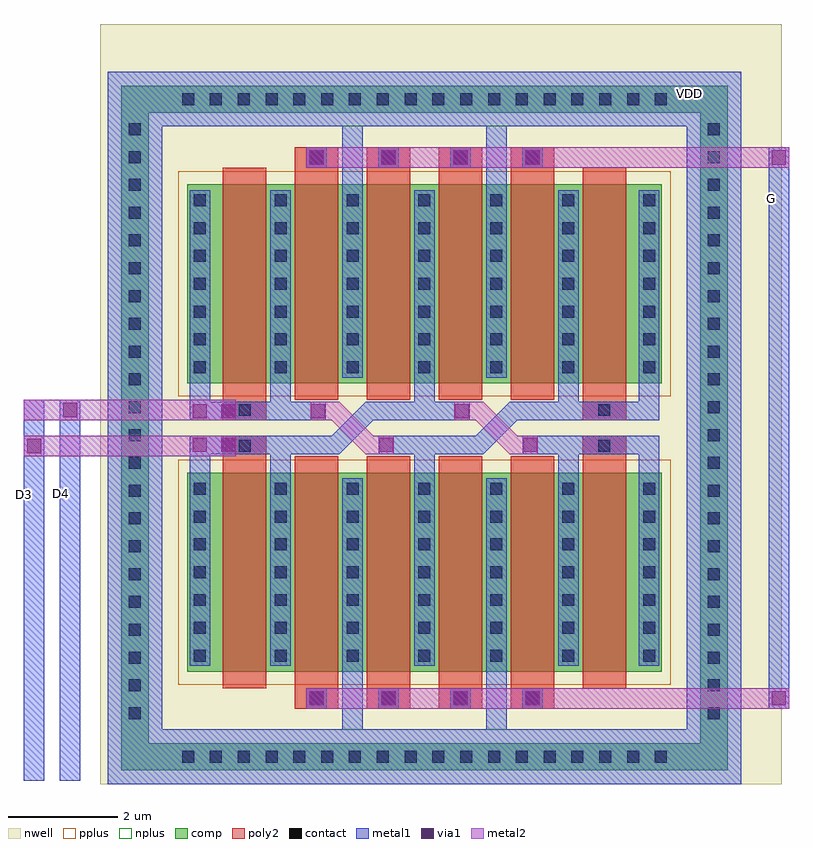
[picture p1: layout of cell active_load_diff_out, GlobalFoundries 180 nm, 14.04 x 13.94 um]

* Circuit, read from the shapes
.subckt active_load_diff_out D3 D4 G VDD
XM1 D3 D3 D3 VDD pfet_03v3 w=3.65u l=0.8u m=2
XM2 D4 D4 D4 VDD pfet_03v3 w=3.65u l=0.8u m=2
XM3 VDD G D3 VDD pfet_03v3 w=3.65u l=0.8u m=4
XM4 VDD G D4 VDD pfet_03v3 w=3.65u l=0.8u m=4
.ends

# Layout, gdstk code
from math import pi, radians
import gdstk
lib = gdstk.Library(unit=1e-6, precision=1e-09)
def R(c, l, rs):  # rectangles x0, y0, x1, y1
    for r in rs: c.add(gdstk.rectangle(r[:2], r[2:], *l))
def A(c, l, x, y, w, h, nx, ny, dx, dy):  # array of equal rectangles
    R(c, l, [(x+i*dx, y+j*dy, x+i*dx+w, y+j*dy+h) for i in range(nx) for j in range(ny)])
nwell = (21, 0)
comp = (22, 0)
poly2 = (30, 0)
pplus = (31, 0)
nplus = (32, 0)
contact = (33, 0)
metal1 = (34, 0)
via1 = (35, 0)
metal2 = (36, 0)

pmos_6 = lib.new_cell('pmos_6')
R(pmos_6, comp, [(0.455,0.68,0.915,4.33), (0.915,0.68,8.695,4.33), (8.695,0.68,9.155,4.33)])
A(pmos_6, poly2, 1.105, 0.38, 0.8, 4.25, 6, 1, 1.32, 0)
A(pmos_6, poly2, 2.425, 4.63, 0.8, 0.38, 4, 1, 1.32, 0)
R(pmos_6, poly2, [(1.105,0,1.905,0.38), (7.705,0,8.505,0.38)])
R(pmos_6, pplus, [(0.285,0.44,9.325,4.57)])
A(pmos_6, contact, 0.575, 0.865, 0.22, 0.22, 1, 7, 0, 0.51)
A(pmos_6, contact, 2.055, 0.865, 0.22, 0.22, 5, 7, 1.32, 0.51)
A(pmos_6, contact, 8.815, 0.865, 0.22, 0.22, 1, 7, 0, 0.51)
A(pmos_6, contact, 2.715, 4.71, 0.22, 0.22, 4, 1, 1.32, 0)
R(pmos_6, contact, [(1.395,0.08,1.615,0.3), (7.995,0.08,8.215,0.3)])
A(pmos_6, metal1, 1.975, 0.785, 0.38, 3.44, 5, 1, 1.32, 0)
A(pmos_6, metal1, 2.635, 4.63, 0.38, 0.38, 4, 1, 1.32, 0)
R(pmos_6, metal1, [(1.315,0,1.695,0.34), (7.915,0,8.295,0.34), (0.495,0.785,0.875,4.225), (8.735,0.785,9.115,4.225)])
A(pmos_6, via1, 2.695, 4.69, 0.26, 0.26, 4, 1, 1.32, 0)
pmos_6.add(gdstk.FlexPath([(7.445,0.785),(7.445,0.34)], 0.38, ends="flush", simple_path=True, layer=34, datatype=0))  # metal1
pmos_6.add(gdstk.FlexPath([(8.925,0.785),(8.925,0.34)], 0.38, ends="flush", simple_path=True, layer=34, datatype=0))  # metal1
pmos_6.add(gdstk.FlexPath([(4.805,0.785),(4.805,0.34)], 0.38, ends="flush", simple_path=True, layer=34, datatype=0))  # metal1
pmos_6.add(gdstk.FlexPath([(2.165,0.785),(2.165,0.34)], 0.38, ends="flush", simple_path=True, layer=34, datatype=0))  # metal1
pmos_6.add(gdstk.FlexPath([(0.685,0.785),(0.685,0.34)], 0.38, ends="flush", simple_path=True, layer=34, datatype=0))  # metal1
pmos_6.add(gdstk.FlexPath([(6.975,4.82),(0,4.82)], 0.38, ends="flush", simple_path=True, layer=36, datatype=0))  # metal2

active_load_diff_out = lib.new_cell('active_load_diff_out')
R(active_load_diff_out, nwell, [(1.405,0,13.905,13.94)])
A(active_load_diff_out, contact, 2.905, 0.39, 0.22, 0.22, 18, 2, 0.51, 12.06)
A(active_load_diff_out, contact, 1.93, 1.19, 0.22, 0.22, 1, 22, 0, 0.51)
A(active_load_diff_out, contact, 12.55, 1.19, 0.22, 0.22, 1, 22, 0, 0.51)
R(active_load_diff_out, via1, [(13.72,1.44,13.98,1.7), (0.06,6.07,0.32,6.33), (3.1,6.09,3.36,6.35), (3.62,6.09,3.88,6.35), (6.52,6.09,6.78,6.35), (9.16,6.09,9.42,6.35), (3.1,6.71,3.36,6.97), (3.62,6.71,3.88,6.97), (5.27,6.71,5.53,6.97), (7.91,6.71,8.17,6.97), (0.72,6.73,0.98,6.99), (13.72,11.36,13.98,11.62)])
active_load_diff_out.add(gdstk.FlexPath([(12.16,12.56),(2.04,12.56),(2.04,0.5),(12.66,0.5),(12.66,13.06)], 1, ends="flush", simple_path=True, layer=34, datatype=0))  # metal1
active_load_diff_out.add(gdstk.FlexPath([(13.85,11.68),(13.85,1.38)], 0.38, ends="flush", simple_path=True, layer=34, datatype=0))  # metal1
active_load_diff_out.add(gdstk.FlexPath([(5.54,6.84),(3.04,6.84)], 0.34, ends="flush", simple_path=True, layer=34, datatype=0))  # metal1
active_load_diff_out.add(gdstk.FlexPath([(11.66,6.22),(9.15,6.22)], 0.34, ends="flush", simple_path=True, layer=34, datatype=0))  # metal1
active_load_diff_out.add(gdstk.FlexPath([(11.66,6.84),(8.98,6.84),(8.36,6.22),(6.51,6.22)], 0.34, ends="flush", simple_path=True, layer=34, datatype=0))  # metal1
active_load_diff_out.add(gdstk.FlexPath([(8.18,6.84),(6.34,6.84),(5.72,6.22),(3.04,6.22)], 0.34, ends="flush", simple_path=True, layer=34, datatype=0))  # metal1
active_load_diff_out.add(gdstk.FlexPath([(0.19,7.05),(0.19,0.06)], 0.38, ends="flush", simple_path=True, layer=34, datatype=0))  # metal1
active_load_diff_out.add(gdstk.FlexPath([(0.85,7.05),(0.85,0.06)], 0.38, ends="flush", simple_path=True, layer=34, datatype=0))  # metal1
active_load_diff_out.add(gdstk.FlexPath([(8.67,2.165),(8.67,1)], 0.38, ends="flush", simple_path=True, layer=34, datatype=0))  # metal1
active_load_diff_out.add(gdstk.FlexPath([(6.03,2.165),(6.03,1)], 0.38, ends="flush", simple_path=True, layer=34, datatype=0))  # metal1
active_load_diff_out.add(gdstk.FlexPath([(8.67,12.06),(8.67,10.895)], 0.38, ends="flush", simple_path=True, layer=34, datatype=0))  # metal1
active_load_diff_out.add(gdstk.FlexPath([(6.03,12.06),(6.03,10.895)], 0.38, ends="flush", simple_path=True, layer=34, datatype=0))  # metal1
active_load_diff_out.add(gdstk.FlexPath([(12.16,12.56),(2.04,12.56),(2.04,0.5),(12.66,0.5),(12.66,13.06)], 1, ends="flush", simple_path=True, layer=32, datatype=0))  # nplus
active_load_diff_out.add(gdstk.FlexPath([(12.41,12.56),(2.04,12.56),(2.04,0.5),(12.66,0.5),(12.66,12.81)], 0.5, ends="flush", simple_path=True, layer=22, datatype=0))  # comp
active_load_diff_out.add(gdstk.FlexPath([(6.79,6.22),(6.34,6.22),(5.72,6.84),(5.26,6.84)], 0.34, ends="flush", simple_path=True, layer=36, datatype=0))  # metal2
active_load_diff_out.add(gdstk.FlexPath([(9.43,6.22),(8.98,6.22),(8.36,6.84),(7.9,6.84)], 0.34, ends="flush", simple_path=True, layer=36, datatype=0))  # metal2
active_load_diff_out.add(gdstk.FlexPath([(12.155,11.49),(14.04,11.49)], 0.38, ends="flush", simple_path=True, layer=36, datatype=0))  # metal2
active_load_diff_out.add(gdstk.FlexPath([(12.155,1.57),(14.04,1.57)], 0.38, ends="flush", simple_path=True, layer=36, datatype=0))  # metal2
active_load_diff_out.add(gdstk.FlexPath([(0,6.2),(3.89,6.2)], 0.38, ends="flush", simple_path=True, layer=36, datatype=0))  # metal2
active_load_diff_out.add(gdstk.FlexPath([(0,6.86),(3.89,6.86)], 0.38, ends="flush", simple_path=True, layer=36, datatype=0))  # metal2
active_load_diff_out.add(gdstk.Reference(pmos_6, (12.155,6.67), rotation=pi, x_reflection=True))
active_load_diff_out.add(gdstk.Reference(pmos_6, (12.155,6.39), rotation=pi))
active_load_diff_out.add(gdstk.Label('G', (13.71,10.74), layer=34, texttype=10))
active_load_diff_out.add(gdstk.Label('D3', (0.02,5.305), layer=34, texttype=10))
active_load_diff_out.add(gdstk.Label('D4', (0.69,5.32), layer=34, texttype=10))
active_load_diff_out.add(gdstk.Label('VDD', (12.21,12.66), layer=34, texttype=10))

lib.write_gds('active_load_diff_out.gds')
